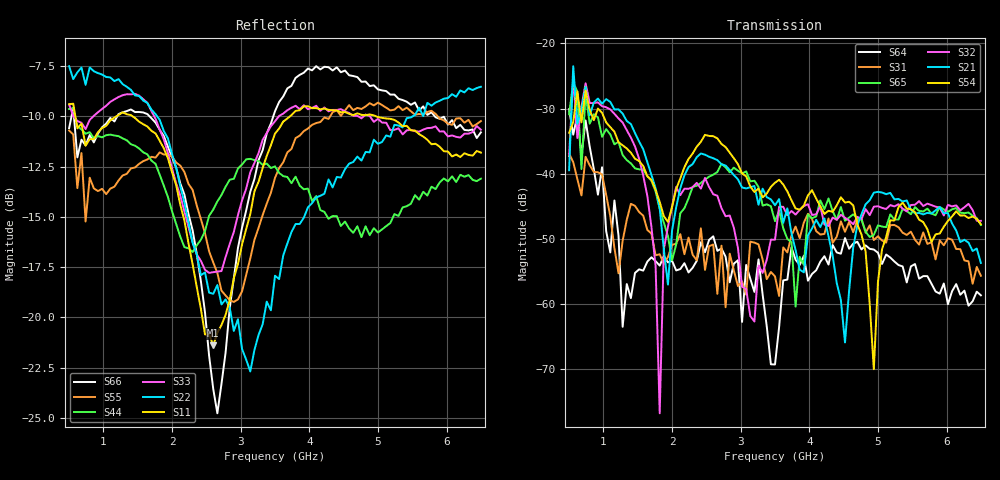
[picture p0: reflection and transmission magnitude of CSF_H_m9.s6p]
!Keysight Technologies,M9804A,MY58100912,A.14.10.03
!Date: Thursday, April 27, 2023 10:28:33
!Correction: S11(C  6-Port  )
!S12(C  6-Port  )
!S13(C  6-Port  )
!S14(C  6-Port  )
!S15(C  6-Port  )
!S16(C  6-Port  )
!S21(C  6-Port  )
!S22(C  6-Port  )
!S23(C  6-Port  )
!S24(C  6-Port  )
!S25(C  6-Port  )
!S26(C  6-Port  )
!S31(C  6-Port  )
!S32(C  6-Port  )
!S33(C  6-Port  )
!S34(C  6-Port  )
!S35(C  6-Port  )
!S36(C  6-Port  )
!S41(C  6-Port  )
!S42(C  6-Port  )
!S43(C  6-Port  )
!S44(C  6-Port  )
!S45(C  6-Port  )
!S46(C  6-Port  )
!S51(C  6-Port  )
!S52(C  6-Port  )
!S53(C  6-Port  )
!S54(C  6-Port  )
!S55(C  6-Port  )
!S56(C  6-Port  )
!S61(C  6-Port  )
!S62(C  6-Port  )
!S63(C  6-Port  )
!S64(C  6-Port  )
!S65(C  6-Port  )
!S66(C  6-Port  )
!S6P File: Measurement: :
# Hz S  RI  R 50
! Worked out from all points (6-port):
!   101 points, 500 MHz to 6.5 GHz, reference 50 ohm
!   strongest paths, dB at 500 MHz, 2 GHz, 3.5 GHz, 5 GHz, 6.5 GHz:
!     S54: -33.7, -45.1, -41.4, -56.7, -47.7
!     S21: -39.5, -48.7, -44.8, -42.8, -53.7
!     S32: -37.3, -45.0, -50.1, -45.0, -47.2
!     S65: -30.9, -53.3, -47.3, -47.9, -47.9
!     S31: -36.9, -50.9, -55.8, -49.6, -55.7
!     S64: -30.1, -53.4, -69.3, -52.1, -58.7
!   lowest |S11| = -21.4 dB at 2.6 GHz (marker M1), VSWR 1.19, Z = 42.5 + j2.24 ohm
!   |S11| at or under -10 dB: 591.1 MHz to 1.184 GHz (592.8 MHz wide, 66.8 % of centre); 1.429 GHz to 3.715 GHz (2.286 GHz wide, 88.9 % of centre); 4.979 GHz to end of sweep
